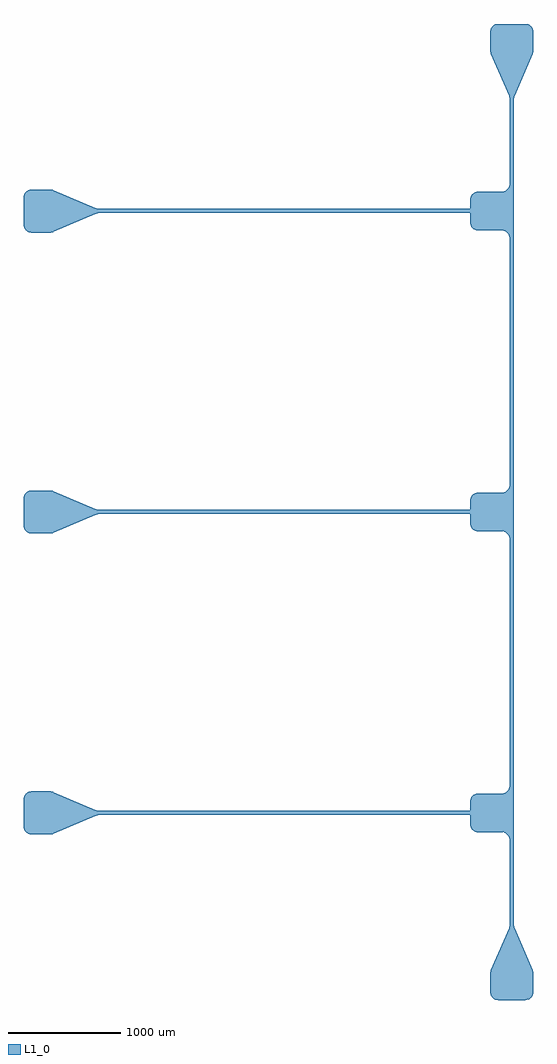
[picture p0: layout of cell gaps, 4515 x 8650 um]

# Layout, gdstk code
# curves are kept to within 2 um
import gdstk
lib = gdstk.Library(unit=1e-6, precision=1e-09)
def P(c, l, *ps):  # polygons
    for p in ps: c.add(gdstk.Polygon(p, *l))
L1_0 = (1, 0)

gaps = lib.new_cell('gaps')
P(gaps, L1_0, [(4880,675),(4859.045,678.21),(4840.011,687.547),(4822.547,705.011),(4813.21,724.045),(4810,745),(4810.089,914.198),(4815.635,938.181),(4975.365,1311.819),(4980.198,1328.771),(4980.641,2100.082),(4975.327,2120.605),(4964.113,2138.596),(4948.027,2152.405),(4928.546,2160.765),(4911,2163),(4694.918,2163.359),(4668.029,2171.796),(4644.547,2193.011),(4636.357,2208.689),(4632.09,2229.455),(4632.807,2443.6),(4639.154,2463.828),(4653.772,2483.735),(4674.395,2497.327),(4694.918,2502.641),(5019,2503),(5019.357,1332.277),(5024.635,1311.819),(5184.365,938.181),(5189.643,917.723),(5189.641,737.918),(5181.204,711.029),(5162.847,689.646),(5144.311,679.357),(5123.545,675.09)],
  [(4911,2503),(4935.311,2507.357),(4959.228,2522.265),(4975.327,2545.395),(4980.91,2569.455),(4980.641,4767.082),(4975.327,4787.605),(4964.113,4805.596),(4948.027,4819.405),(4928.546,4827.765),(4911,4830),(4694.918,4830.359),(4674.395,4835.673),(4653.772,4849.265),(4639.154,4869.172),(4632.359,4892.918),(4632,5100),(4635.21,5120.955),(4644.547,5139.989),(4659.153,5155.354),(4677.689,5165.643),(4702,5170),(4925.091,5171.433),(4944.971,5178.796),(4961.735,5191.772),(4973.846,5209.172),(4980.193,5229.4),(4980.91,7430.545),(4976.643,7451.311),(4964.113,7472.596),(4948.027,7486.405),(4928.546,7494.765),(4911,7497),(4698.455,7497.09),(5019,7497.09),(5019,2503)],
  [(4698.455,7497.09),(4677.689,7501.357),(4656.404,7513.887),(4640.796,7533.029),(4632.807,7556.4),(4632.09,7770.545),(4636.357,7791.311),(4644.547,7806.989),(4668.029,7828.204),(4694.918,7836.641),(4911,7837),(4931.955,7840.21),(4950.989,7849.547),(4966.354,7864.153),(4976.643,7882.689),(4980.91,7903.455),(4980.643,8667.723),(4975.365,8688.181),(4812.219,9071.848),(4810,9089.335),(4810,9255),(4812.235,9272.546),(4820.595,9292.027),(4834.404,9308.113),(4852.395,9319.327),(4869.4,9324.193),(5120,9325),(5137.546,9322.765),(5153.971,9316.204),(5170.735,9303.228),(5182.846,9285.828),(5188.567,9269.091),(5188.577,9075.291),(5024.635,8688.181),(5019.089,8664.198),(5019,7497.09)],
  [(745,2143),(720.689,2147.357),(696.772,2162.265),(680.673,2185.395),(675,2213),(676.433,2467.091),(683.796,2486.971),(699.404,2506.113),(720.689,2518.643),(741.455,2522.91),(910.665,2523),(931.551,2519.811),(1311.819,2357.635),(1335.802,2352.089),(4700,2352),(4700,2314),(1335.802,2313.911),(1311.819,2308.365),(931.551,2146.189),(910.665,2143)],
  [(745,4810),(720.689,4814.357),(696.772,4829.265),(680.673,4852.395),(675,4880),(676.433,5134.091),(683.796,5153.971),(699.404,5173.113),(720.689,5185.643),(741.455,5189.91),(910.665,5190),(931.551,5186.811),(1311.819,5024.635),(1335.802,5019.089),(4700,5019),(4700,4981),(1335.802,4980.911),(1311.819,4975.365),(931.551,4813.189),(910.665,4810)],
  [(745,7477),(720.689,7481.357),(696.772,7496.265),(680.673,7519.395),(675,7547),(676.433,7801.091),(683.796,7820.971),(699.404,7840.113),(720.689,7852.643),(741.455,7856.91),(910.665,7857),(931.551,7853.811),(1311.819,7691.635),(1335.802,7686.089),(4700,7686),(4700,7648),(1335.802,7647.911),(1311.819,7642.365),(931.551,7480.189),(910.665,7477)])

lib.write_gds('gaps.gds')
